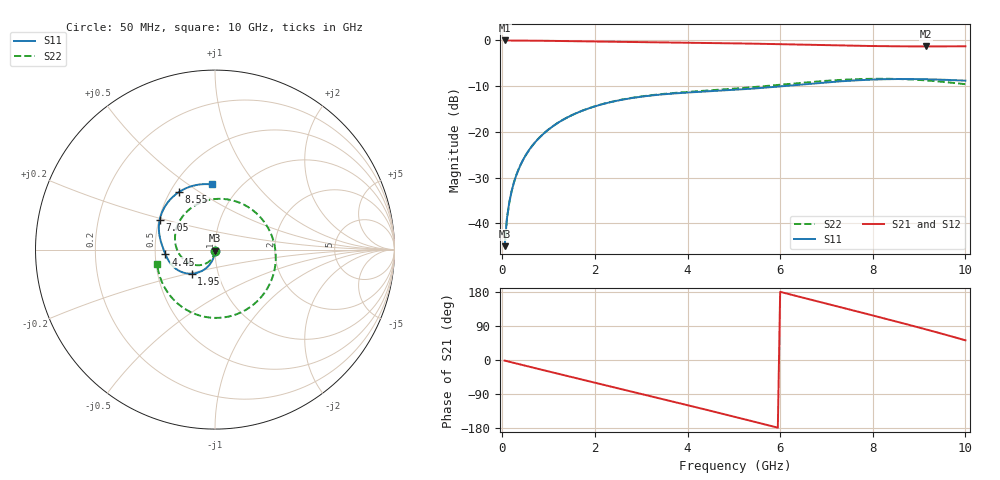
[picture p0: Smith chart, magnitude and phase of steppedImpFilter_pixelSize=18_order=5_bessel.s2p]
! freq	dB(S11)	phase(S11)	dB(S12)	phase(S12)
!  dB(S21)	phase(S21)	dB(S22)	phase(S22)
!S-par simulation data
#  GHz  S  DB  R 50
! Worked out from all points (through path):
!   200 points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, 50 MHz to 10 GHz, reference 50 ohm
!   highest |S21| = 0.00 dB at 50 MHz (marker M1); lowest = -1.3 dB at 9.15 GHz (marker M2)
!   group delay of S21, straight-line fit = 84.9 ps
!   lowest |S11| = -45.0 dB at 50 MHz (marker M3), VSWR 1.01, Z = 50 - j0.562 ohm
!   |S11| at or under -10 dB: start of sweep to 6.056 GHz
!   |S22| runs from -45.0 to -8.4 dB; largest |S21 - S12| = 0
!   S11 on the Smith chart (normalised r, x): 50 MHz: 1.00, -0.01; 1.95 GHz: 0.75, -0.21; 4.45 GHz: 0.57, -0.03; 7.05 GHz: 0.51, +0.19; 8.55 GHz: 0.55, +0.41; 10 GHz: 0.75, +0.62
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0.05  -45.01 -90.9  -0.00 -1.5  -0.00 -1.5  -45.01 -91.6
0.1  -39.00 -92.3  -0.01 -3.1  -0.01 -3.1  -39.01 -93.7
0.2  -33.03 -94.8  -0.01 -6.1  -0.01 -6.1  -33.04 -97.7
0.35  -28.24 -98.5  -0.02 -10.6  -0.02 -10.6  -28.25 -103.6
0.5  -25.21 -102.2  -0.03 -15.1  -0.03 -15.1  -25.22 -109.4
0.7  -22.38 -106.8  -0.05 -21.2  -0.05 -21.2  -22.39 -117.1
1  -19.46 -113.7  -0.08 -30.2  -0.08 -30.2  -19.47 -128.4
1.75  -15.28 -130.0  -0.19 -52.5  -0.19 -52.5  -15.27 -157.1
1.95  -14.58 -134.1  -0.22 -58.4  -0.22 -58.4  -14.56 -164.9
2.7  -12.77 -148.5  -0.33 -80.6  -0.33 -80.6  -12.73 165.0
3.4  -11.86 -160.2  -0.42 -101.3  -0.42 -101.3  -11.78 135.1
3.9  -11.46 -167.4  -0.49 -116.2  -0.49 -116.2  -11.34 112.4
4.45  -11.14 -174.4  -0.55 -132.7  -0.55 -132.7  -10.95 86.3
5.05  -10.79 178.8  -0.64 -150.9  -0.64 -150.9  -10.52 56.9
5.85  -10.18 169.6  -0.78 -175.5  -0.78 -175.5  -9.82 17.7
6.7  -9.42 157.6  -0.97 158.1  -0.97 158.1  -9.06 -21.6
7.05  -9.13 151.8  -1.04 147.2  -1.04 147.2  -8.79 -36.9
7.7  -8.70 139.8  -1.17 127.0  -1.17 127.0  -8.46 -64.2
8.35  -8.47 126.4  -1.27 106.5  -1.27 106.5  -8.39 -90.8
8.55  -8.44 122.1  -1.28 100.2  -1.28 100.2  -8.43 -99.0
9.15  -8.49 109.3  -1.31 80.8  -1.31 80.8  -8.74 -124.4
10  -8.80 92.6  -1.28 52.0  -1.28 52.0  -9.57 -166.0
